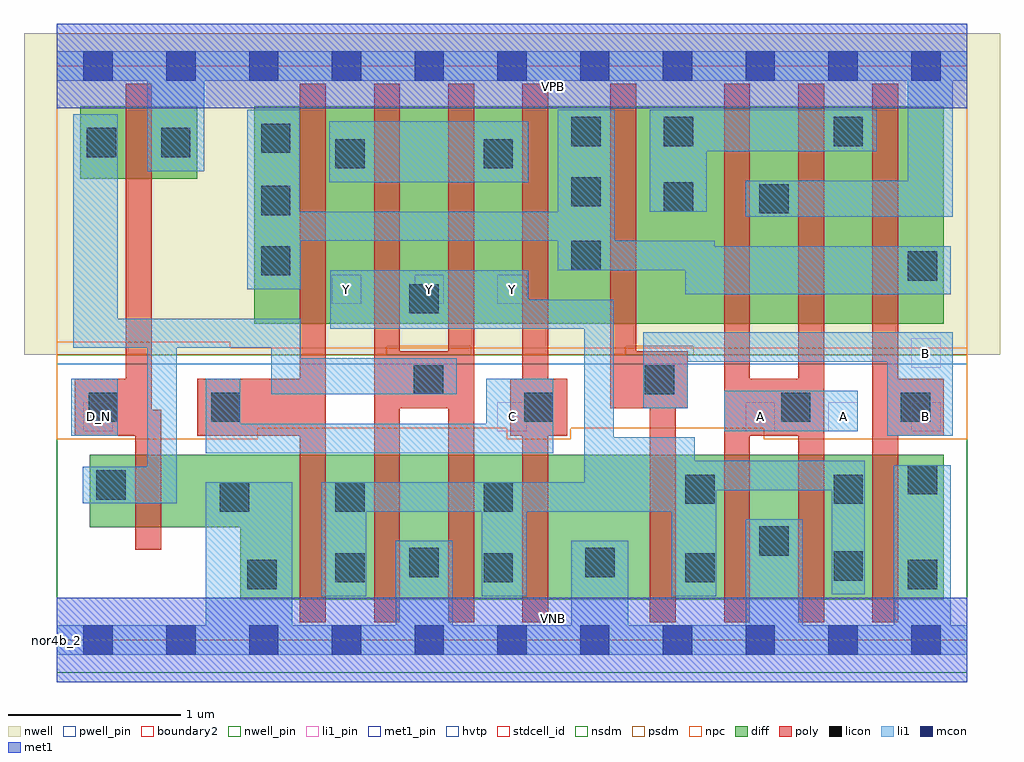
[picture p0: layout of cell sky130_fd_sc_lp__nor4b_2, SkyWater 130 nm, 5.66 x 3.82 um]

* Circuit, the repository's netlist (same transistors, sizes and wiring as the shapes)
* Copyright 2020 The SkyWater PDK Authors
*
* Licensed under the Apache License, Version 2.0 (the "License");
* you may not use this file except in compliance with the License.
* You may obtain a copy of the License at
*
*     https://www.apache.org/licenses/LICENSE-2.0
*
* Unless required by applicable law or agreed to in writing, software
* distributed under the License is distributed on an "AS IS" BASIS,
* WITHOUT WARRANTIES OR CONDITIONS OF ANY KIND, either express or implied.
* See the License for the specific language governing permissions and
* limitations under the License.
*
* SPDX-License-Identifier: Apache-2.0

.SUBCKT sky130_fd_sc_lp__nor4b_2 A B C D_N VGND VNB VPB VPWR Y
*.PININFO A:I B:I C:I D_N:I VGND:I VNB:I VPB:I VPWR:I Y:O
MMP0 VPWR A sndPA VPB sky130_fd_pr__pfet_01v8_hvt m=2 w=1.26U l=0.15U mult=1 sa=0.265
+ sb=0.265 sd=0.28 area=0.063 perim=1.14
MMP1 sndPA B sndPB VPB sky130_fd_pr__pfet_01v8_hvt m=2 w=1.26U l=0.15U mult=1 sa=0.265
+ sb=0.265 sd=0.28 area=0.063 perim=1.14
MMP2 sndPB C sndPC VPB sky130_fd_pr__pfet_01v8_hvt m=2 w=1.26U l=0.15U mult=1 sa=0.265
+ sb=0.265 sd=0.28 area=0.063 perim=1.14
MMP3 sndPC D Y VPB sky130_fd_pr__pfet_01v8_hvt m=2 w=1.26U l=0.15U mult=1 sa=0.265
+ sb=0.265 sd=0.28 area=0.063 perim=1.14
MMIP3 D D_N VPWR VPB sky130_fd_pr__pfet_01v8_hvt m=1 w=0.42U l=0.15U mult=1 sa=0.265
+ sb=0.265 sd=0.28 area=0.063 perim=1.14
MMN0 Y A VGND VNB sky130_fd_pr__nfet_01v8 m=2 w=0.84U l=0.15U mult=1 sa=0.265 sb=0.265
+ sd=0.28 area=0.063 perim=1.14
MMN1 Y B VGND VNB sky130_fd_pr__nfet_01v8 m=2 w=0.84U l=0.15U mult=1 sa=0.265 sb=0.265
+ sd=0.28 area=0.063 perim=1.14
MMN2 Y C VGND VNB sky130_fd_pr__nfet_01v8 m=2 w=0.84U l=0.15U mult=1 sa=0.265 sb=0.265
+ sd=0.28 area=0.063 perim=1.14
MMN3 Y D VGND VNB sky130_fd_pr__nfet_01v8 m=2 w=0.84U l=0.15U mult=1 sa=0.265 sb=0.265
+ sd=0.28 area=0.063 perim=1.14
MMIN3 D D_N VGND VNB sky130_fd_pr__nfet_01v8 m=1 w=0.42U l=0.15U mult=1 sa=0.265
+ sb=0.265 sd=0.28 area=0.063 perim=1.14
.ENDS sky130_fd_sc_lp__nor4b_2

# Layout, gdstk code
import gdstk
lib = gdstk.Library(unit=1e-6, precision=1e-09)
def R(c, l, rs):  # rectangles x0, y0, x1, y1
    for r in rs: c.add(gdstk.rectangle(r[:2], r[2:], *l))
def A(c, l, x, y, w, h, nx, ny, dx, dy):  # array of equal rectangles
    R(c, l, [(x+i*dx, y+j*dy, x+i*dx+w, y+j*dy+h) for i in range(nx) for j in range(ny)])
def P(c, l, *ps):  # polygons
    for p in ps: c.add(gdstk.Polygon(p, *l))
nwell_pin = (64, 16)
nwell = (64, 20)
diff = (65, 20)
poly = (66, 20)
licon = (66, 44)
li1_pin = (67, 16)
li1 = (67, 20)
mcon = (67, 44)
met1_pin = (68, 16)
met1 = (68, 20)
hvtp = (78, 44)
stdcell_id = (81, 4)
nsdm = (93, 44)
psdm = (94, 20)
npc = (95, 20)
pwell_pin = (122, 16)
boundary2 = (236, 0)

sky130_fd_sc_lp__nor4b_2 = lib.new_cell('sky130_fd_sc_lp__nor4b_2')
R(sky130_fd_sc_lp__nor4b_2, nwell_pin, [(0,3.085,5.28,3.33)])
R(sky130_fd_sc_lp__nor4b_2, nwell, [(-0.19,1.655,5.47,3.52)])
R(sky130_fd_sc_lp__nor4b_2, diff, [(1.145,1.835,5.145,3.095), (0.135,2.675,0.815,3.095)])
P(sky130_fd_sc_lp__nor4b_2, diff, [(5.145,1.075),(0.19,1.075),(0.19,0.655),(1.065,0.655),(1.065,0.235),(5.145,0.235)])
P(sky130_fd_sc_lp__nor4b_2, poly, [(0.605,1.335),(0.55,1.335),(0.55,3.225),(0.4,3.225),(0.4,1.515),(0.105,1.515),(0.105,1.185),(0.455,1.185),(0.455,0.525),(0.605,0.525)],
  [(1.56,3.225),(1.41,3.225),(1.41,1.515),(0.815,1.515),(0.815,1.185),(1.41,1.185),(1.41,0.105),(1.56,0.105)],
  [(2.42,3.225),(2.27,3.225),(2.27,1.675),(1.99,1.675),(1.99,3.225),(1.84,3.225),(1.84,0.105),(1.99,0.105),(1.99,1.345),(2.27,1.345),(2.27,0.105),(2.42,0.105)],
  [(2.96,1.515),(2.85,1.515),(2.85,3.225),(2.7,3.225),(2.7,1.515),(2.63,1.515),(2.63,1.185),(2.7,1.185),(2.7,0.105),(2.85,0.105),(2.85,1.185),(2.96,1.185)],
  [(3.66,1.675),(3.36,1.675),(3.36,3.225),(3.21,3.225),(3.21,1.345),(3.44,1.345),(3.44,0.105),(3.59,0.105),(3.59,1.345),(3.66,1.345)],
  [(4.45,3.225),(4.3,3.225),(4.3,1.515),(4.02,1.515),(4.02,3.225),(3.87,3.225),(3.87,0.105),(4.02,0.105),(4.02,1.185),(4.3,1.185),(4.3,0.105),(4.45,0.105)],
  [(5.145,1.515),(4.88,1.515),(4.88,3.225),(4.73,3.225),(4.73,0.105),(4.88,0.105),(4.88,1.185),(5.145,1.185)])
R(sky130_fd_sc_lp__nor4b_2, licon, [(1.105,0.295,1.275,0.465), (4.935,0.295,5.105,0.465), (1.615,0.335,1.785,0.505), (2.475,0.335,2.645,0.505), (3.645,0.335,3.815,0.505), (4.505,0.345,4.675,0.515), (2.045,0.365,2.215,0.535), (3.065,0.365,3.235,0.535), (4.075,0.49,4.245,0.66), (0.945,0.745,1.115,0.915), (1.615,0.745,1.785,0.915), (2.475,0.745,2.645,0.915), (3.645,0.79,3.815,0.96), (4.505,0.79,4.675,0.96), (0.23,0.815,0.4,0.985), (4.935,0.845,5.105,1.015), (0.185,1.265,0.355,1.435), (0.895,1.265,1.065,1.435), (2.71,1.265,2.88,1.435), (4.2,1.265,4.37,1.435), (4.895,1.265,5.065,1.435), (2.07,1.425,2.24,1.595), (3.41,1.425,3.58,1.595), (2.045,1.895,2.215,2.065), (4.935,2.085,5.105,2.255), (1.185,2.115,1.355,2.285), (2.985,2.145,3.155,2.315), (1.185,2.465,1.355,2.635), (4.075,2.475,4.245,2.645), (3.52,2.485,3.69,2.655), (2.985,2.515,3.155,2.685), (1.615,2.735,1.785,2.905), (2.475,2.735,2.645,2.905), (0.175,2.8,0.345,2.97), (0.605,2.8,0.775,2.97), (1.185,2.825,1.355,2.995), (2.985,2.865,3.155,3.035), (3.52,2.865,3.69,3.035), (4.505,2.865,4.675,3.035)])
A(sky130_fd_sc_lp__nor4b_2, li1_pin, 3.995, 1.21, 0.17, 0.17, 3, 1, 0.48, 0)
A(sky130_fd_sc_lp__nor4b_2, li1_pin, 1.595, 1.95, 0.17, 0.17, 3, 1, 0.48, 0)
R(sky130_fd_sc_lp__nor4b_2, li1_pin, [(0.155,1.21,0.325,1.38), (2.555,1.21,2.725,1.38), (4.955,1.58,5.125,1.75)])
R(sky130_fd_sc_lp__nor4b_2, li1, [(0.085,1.185,0.355,1.515), (3.87,1.21,4.645,1.445), (1.58,2.655,2.735,3.01)])
P(sky130_fd_sc_lp__nor4b_2, li1, [(0.525,2.72),(0.525,3.245),(0,3.245),(0,3.415),(5.28,3.415),(5.28,3.245),(5.195,3.245),(5.195,2.455),(3.995,2.455),(3.995,2.665),(4.935,2.665),(4.935,3.245),(0.855,3.245),(0.855,2.72)],
  [(2.985,0.085),(2.985,0.575),(3.315,0.575),(3.315,0.085),(3.995,0.085),(3.995,0.7),(4.325,0.7),(4.325,0.085),(4.855,0.085),(4.855,1.015),(5.185,1.015),(5.185,0.085),(5.28,0.085),(5.28,-0.085),(0,-0.085),(0,0.085),(0.865,0.085),(0.865,0.915),(1.365,0.915),(1.365,0.085),(1.965,0.085),(1.965,0.575),(2.295,0.575),(2.295,0.085)],
  [(5.195,1.785),(5.195,1.185),(4.815,1.185),(4.815,1.615),(3.66,1.615),(3.66,1.345),(3.4,1.345),(3.4,1.785)],
  [(3.7,1.175),(3.7,1.04),(4.685,1.04),(4.685,0.265),(4.495,0.265),(4.495,0.87),(3.825,0.87),(3.825,0.255),(3.565,0.255),(3.565,0.745),(2.725,0.745),(2.725,0.255),(2.465,0.255),(2.465,0.745),(1.795,0.745),(1.795,0.255),(1.535,0.255),(1.535,0.915),(3.06,0.915),(3.06,1.805),(1.585,1.805),(1.585,2.145),(2.735,2.145),(2.735,1.975),(3.23,1.975),(3.23,1.175)],
  [(3.77,2.835),(3.77,2.485),(3.44,2.485),(3.44,3.075),(4.755,3.075),(4.755,2.835)],
  [(3.815,2.285),(5.185,2.285),(5.185,2.005),(3.645,2.005),(3.645,2.145),(2.905,2.145),(2.905,2.315),(1.415,2.315),(1.415,2.035),(1.105,2.035),(1.105,3.075),(1.41,3.075),(1.41,2.485),(2.905,2.485),(2.905,3.075),(3.235,3.075),(3.235,2.315),(3.815,2.315)],
  [(0.355,1.865),(1.415,1.865),(1.415,1.635),(2.32,1.635),(2.32,1.425),(1.245,1.425),(1.245,1.695),(0.695,1.695),(0.695,0.795),(0.15,0.795),(0.15,1.005),(0.525,1.005),(0.525,1.695),(0.095,1.695),(0.095,3.05),(0.355,3.05)],
  [(0.865,1.085),(0.865,1.515),(1.065,1.515),(1.065,1.255),(2.49,1.255),(2.49,1.515),(2.88,1.515),(2.88,1.085)])
A(sky130_fd_sc_lp__nor4b_2, mcon, 0.155, -0.085, 0.17, 0.17, 11, 2, 0.48, 3.33)
R(sky130_fd_sc_lp__nor4b_2, met1_pin, [(0,0,5.28,0.245), (0,3.085,5.28,3.33)])
R(sky130_fd_sc_lp__nor4b_2, met1, [(0,-0.245,5.28,0.245), (0,3.085,5.28,3.575)])
R(sky130_fd_sc_lp__nor4b_2, hvtp, [(0,1.6,5.28,3.33)])
R(sky130_fd_sc_lp__nor4b_2, stdcell_id, [(0,0,5.28,3.33)])
R(sky130_fd_sc_lp__nor4b_2, nsdm, [(0,-0.19,5.28,1.655)])
P(sky130_fd_sc_lp__nor4b_2, psdm, [(5.28,3.52),(0,3.52),(0,1.655),(1.915,1.655),(1.915,1.705),(2.4,1.705),(2.4,1.655),(3.3,1.655),(3.3,1.705),(3.69,1.705),(3.69,1.655),(5.28,1.655)])
P(sky130_fd_sc_lp__nor4b_2, npc, [(5.28,1.695),(1.005,1.695),(1.005,1.73),(0,1.73),(0,1.165),(1.165,1.165),(1.165,1.23),(2.61,1.23),(2.61,1.165),(2.98,1.165),(2.98,1.23),(4.1,1.23),(4.1,1.165),(5.28,1.165)])
R(sky130_fd_sc_lp__nor4b_2, pwell_pin, [(0,0,5.28,0.245)])
R(sky130_fd_sc_lp__nor4b_2, boundary2, [(0,0,5.28,3.33)])
sky130_fd_sc_lp__nor4b_2.add(gdstk.Label('VNB', (2.88,0.123), layer=64, texttype=59))
sky130_fd_sc_lp__nor4b_2.add(gdstk.Label('VPB', (2.88,3.208), layer=64, texttype=5))
sky130_fd_sc_lp__nor4b_2.add(gdstk.Label('nor4b_2', (0,0), layer=83, texttype=44))
sky130_fd_sc_lp__nor4b_2.add(gdstk.Label('VGND', (2.88,0.123), layer=68, texttype=5))
sky130_fd_sc_lp__nor4b_2.add(gdstk.Label('VPWR', (2.88,3.208), layer=68, texttype=5))
sky130_fd_sc_lp__nor4b_2.add(gdstk.Label('A', (4.08,1.295), layer=67, texttype=5))
sky130_fd_sc_lp__nor4b_2.add(gdstk.Label('A', (4.56,1.295), layer=67, texttype=5))
sky130_fd_sc_lp__nor4b_2.add(gdstk.Label('D_N', (0.24,1.295), layer=67, texttype=5))
sky130_fd_sc_lp__nor4b_2.add(gdstk.Label('B', (5.04,1.295), layer=67, texttype=5))
sky130_fd_sc_lp__nor4b_2.add(gdstk.Label('B', (5.04,1.665), layer=67, texttype=5))
sky130_fd_sc_lp__nor4b_2.add(gdstk.Label('C', (2.64,1.295), layer=67, texttype=5))
sky130_fd_sc_lp__nor4b_2.add(gdstk.Label('Y', (1.68,2.035), layer=67, texttype=5))
sky130_fd_sc_lp__nor4b_2.add(gdstk.Label('Y', (2.16,2.035), layer=67, texttype=5))
sky130_fd_sc_lp__nor4b_2.add(gdstk.Label('Y', (2.64,2.035), layer=67, texttype=5))

lib.write_gds('sky130_fd_sc_lp__nor4b_2.gds')
